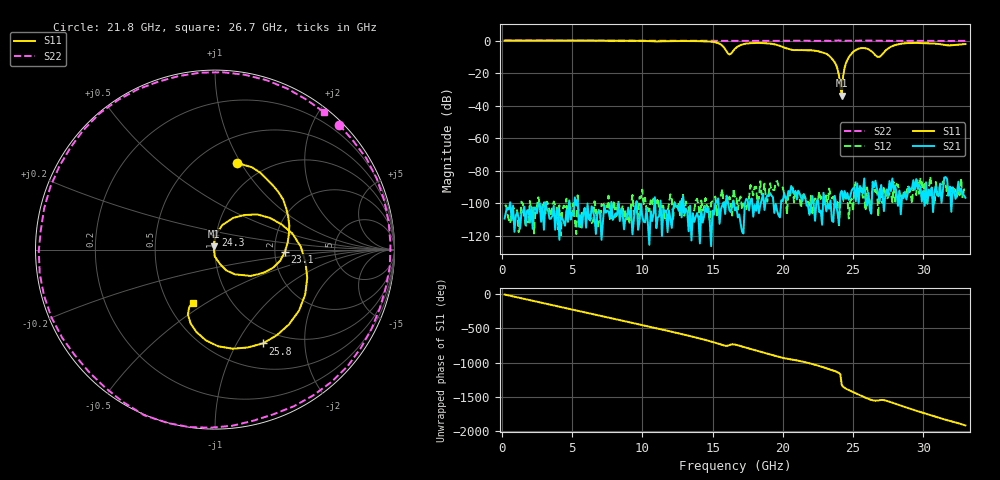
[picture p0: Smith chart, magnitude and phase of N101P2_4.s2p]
# GHZ S RI R 50
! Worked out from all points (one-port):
!   329 points, 200 MHz to 33 GHz, reference 50 ohm
!   lowest |S11| = -33.9 dB at 24.2 GHz (marker M1), VSWR 1.04, Z = 49.1 + j1.8 ohm
!   |S11| at or under -10 dB: 23.37 GHz to 24.72 GHz (1.356 GHz wide, 5.64 % of centre); 26.76866 GHz to 26.8682 GHz (99.54 MHz wide, 0.371 % of centre)
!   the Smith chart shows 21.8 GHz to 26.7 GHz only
!   S11 on the Smith chart (normalised r, x): 21.8 GHz: 0.75, +0.96; 23.1 GHz: 2.27, -0.06; 24.3 GHz: 0.99, +0.17; 25.8 GHz: 0.81, -1.29; 26.7 GHz: 0.66, -0.44
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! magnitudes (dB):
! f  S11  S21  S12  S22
! 200 MHz  0.0  -109.3  -101.7  0.0
! 5.7 GHz  0.0  -114.9  -104.8  -0.1
! 11.2 GHz  -0.5  -107.9  -103.5  -0.1
! 15.1 GHz  -1.0  -107.0  -97.5  -0.1
! 15.7 GHz  -3.2  -101.1  -91.2  -0.1
! 16.2 GHz  -8.6  -104.2  -95.8  -0.1
! 16.6 GHz  -5.0  -104.3  -96.4  -0.2
! 18.4 GHz  -1.5  -101.2  -86.4  -0.2
! 21.8 GHz  -6.0  -101.5  -99.0  -0.2
! 22.1 GHz  -6.1  -95.5  -107.3  -0.1
! 23.1 GHz  -8.2  -104.9  -95.2  -0.2
! 23.8 GHz  -15.0  -100.7  -102.0  0.0
! 24 GHz  -21.3  -112.9  -113.5  0.0
! 24.2 GHz  -33.9  -92.3  -98.0  -0.2
! 24.3 GHz  -21.6  -97.5  -98.8  -0.2
! 24.5 GHz  -13.8  -97.2  -95.0  -0.1
! 24.8 GHz  -9.1  -95.9  -98.8  -0.1
! 25.8 GHz  -4.6  -84.7  -96.1  -0.1
! 26.7 GHz  -9.8  -90.9  -89.8  -0.2
! 27.6 GHz  -4.3  -86.3  -93.9  -0.2
! 28.9 GHz  -1.6  -93.9  -89.0  -0.2
! 33 GHz  -2.2  -96.6  -91.5  -0.2
